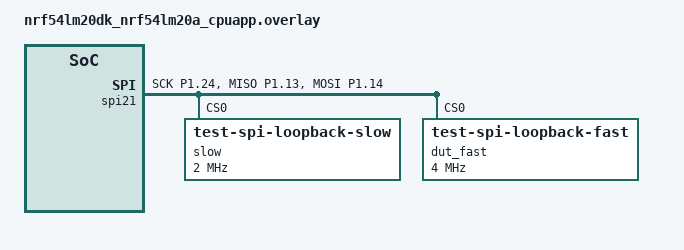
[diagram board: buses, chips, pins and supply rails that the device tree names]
/*
 * Copyright (c) 2025 Nordic Semiconductor ASA
 *
 * SPDX-License-Identifier: Apache-2.0
 */

/* Test requires following loopback:
 * P1.13 - P1.14
 */

&pinctrl {
	spi21_default: spi21_default {
		group1 {
			psels = <NRF_PSEL(SPIM_SCK, 1, 24)>,
				<NRF_PSEL(SPIM_MISO, 1, 13)>,
				<NRF_PSEL(SPIM_MOSI, 1, 14)>;
		};
	};

	spi21_sleep: spi21_sleep {
		group1 {
			psels = <NRF_PSEL(SPIM_SCK, 1, 24)>,
				<NRF_PSEL(SPIM_MISO, 1, 13)>,
				<NRF_PSEL(SPIM_MOSI, 1, 14)>;
			low-power-enable;
		};
	};
};

&spi21 {
	status = "okay";
	pinctrl-0 = <&spi21_default>;
	pinctrl-1 = <&spi21_sleep>;
	pinctrl-names = "default", "sleep";
	overrun-character = <0x00>;
	zephyr,pm-device-runtime-auto;
	slow@0 {
		compatible = "test-spi-loopback-slow";
		reg = <0>;
		spi-max-frequency = <DT_FREQ_M(2)>;
	};
	dut_fast: fast@0 {
		compatible = "test-spi-loopback-fast";
		reg = <0>;
		spi-max-frequency = <DT_FREQ_M(4)>;
	};
};

&gpio1 {
	status = "okay";
};
